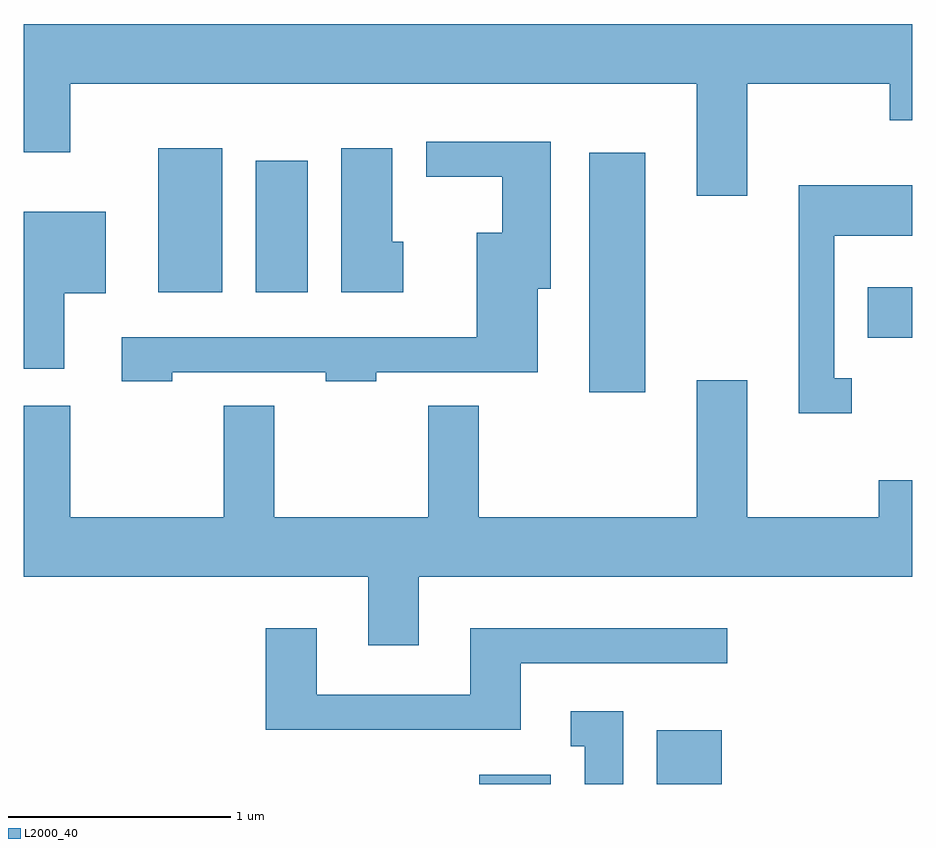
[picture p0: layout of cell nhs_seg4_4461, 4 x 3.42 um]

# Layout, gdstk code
import gdstk
lib = gdstk.Library(unit=1e-6, precision=1e-09)
def R(c, l, rs):  # rectangles x0, y0, x1, y1
    for r in rs: c.add(gdstk.rectangle(r[:2], r[2:], *l))
def P(c, l, *ps):  # polygons
    for p in ps: c.add(gdstk.Polygon(p, *l))
L2000_40 = (2000, 40)

nhs_seg4_4461 = lib.new_cell('nhs_seg4_4461')
R(nhs_seg4_4461, L2000_40, [(317.661,1335.982,317.984,1336.024), (318.461,1335.982,318.754,1336.224), (318.156,1337.746,318.409,1338.824), (319.411,1337.991,319.611,1338.219), (316.216,1338.196,316.504,1338.844), (316.656,1338.196,316.889,1338.789)])
P(nhs_seg4_4461, L2000_40, [(318.869,1339.136),(319.511,1339.136),(319.511,1338.971),(319.611,1338.971),(319.611,1339.404),(315.611,1339.404),(315.611,1338.826),(315.819,1338.826),(315.819,1339.136),(318.641,1339.136),(318.641,1338.631),(318.869,1338.631)],
  [(316.279,1337.836),(316.971,1337.836),(316.971,1337.796),(317.199,1337.796),(317.199,1337.836),(317.924,1337.836),(317.924,1338.211),(317.984,1338.211),(317.984,1338.874),(317.423,1338.874),(317.423,1338.716),(317.766,1338.716),(317.766,1338.464),(317.651,1338.464),(317.651,1337.994),(316.051,1337.994),(316.051,1337.796),(316.279,1337.796)],
  [(317.319,1338.424),(317.269,1338.424),(317.269,1338.844),(317.041,1338.844),(317.041,1338.196),(317.319,1338.196)],
  [(319.338,1337.809),(319.259,1337.809),(319.259,1338.451),(319.611,1338.451),(319.611,1338.679),(319.101,1338.679),(319.101,1337.651),(319.338,1337.651)],
  [(315.794,1338.191),(315.979,1338.191),(315.979,1338.559),(315.611,1338.559),(315.611,1337.851),(315.794,1337.851)],
  [(317.389,1336.916),(319.611,1336.916),(319.611,1337.349),(319.461,1337.349),(319.461,1337.184),(318.869,1337.184),(318.869,1337.799),(318.641,1337.799),(318.641,1337.184),(317.659,1337.184),(317.659,1337.684),(317.431,1337.684),(317.431,1337.184),(316.739,1337.184),(316.739,1337.684),(316.511,1337.684),(316.511,1337.184),(315.819,1337.184),(315.819,1337.684),(315.611,1337.684),(315.611,1336.916),(317.161,1336.916),(317.161,1336.606),(317.389,1336.606)],
  [(317.849,1336.526),(318.778,1336.526),(318.778,1336.684),(317.621,1336.684),(317.621,1336.384),(316.929,1336.384),(316.929,1336.684),(316.701,1336.684),(316.701,1336.226),(317.849,1336.226)],
  [(318.309,1336.309),(318.073,1336.309),(318.073,1336.151),(318.136,1336.151),(318.136,1335.982),(318.309,1335.982)])

lib.write_gds('nhs_seg4_4461.gds')
